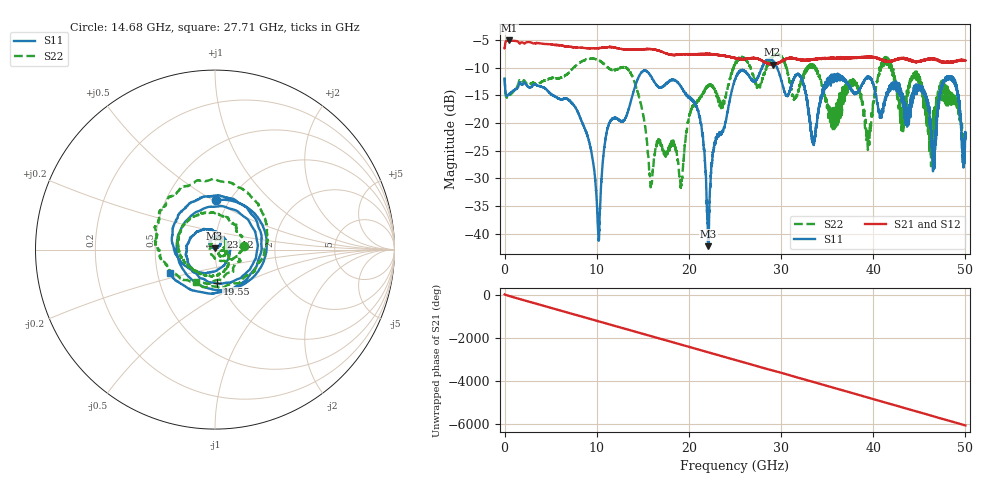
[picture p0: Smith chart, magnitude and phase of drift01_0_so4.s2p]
!Created with skrf (http://scikit-rf.org).
# Hz S RI R 50.0
!freq ReS11 ImS11 ReS21 ImS21 ReS12 ImS12 ReS22 ImS22
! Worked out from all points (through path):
!   10001 points, 300 kHz to 50 GHz, reference 50 ohm
!   highest |S21| = -5.05 dB at 520.3 MHz (marker M1); lowest = -9.4 dB at 29.08 GHz (marker M2)
!   group delay of S21, straight-line fit = 336 ps
!   lowest |S11| = -42.3 dB at 22.09 GHz (marker M3), VSWR 1.02, Z = 49.8 + j0.735 ohm
!   |S11| at or under -10 dB: start of sweep to 27.92 GHz; 27.92221 GHz to 27.9289 GHz (6.694 MHz wide, 0.024 % of centre); 29.58 GHz to end of sweep
!   |S22| runs from -31.8 to -7.4 dB; largest |S21 - S12| = 0.01
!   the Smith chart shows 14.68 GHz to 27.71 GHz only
!   S11 on the Smith chart (normalised r, x): 14.68 GHz: 0.87, +0.51; 19.55 GHz: 0.95, -0.37; 23.12 GHz: 1.05, +0.15; 27.71 GHz: 0.58, -0.16
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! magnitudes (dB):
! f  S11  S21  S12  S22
! 300 kHz  -12.0  -6.5  -6.5  -11.8
! 520.3 MHz  -14.7  -5.1  -5.1  -15.0
! 8.335 GHz  -19.6  -6.4  -6.4  -8.9
! 10.19 GHz  -40.7  -6.4  -6.4  -8.6
! 11.23 GHz  -20.7  -6.3  -6.3  -10.0
! 14.68 GHz  -11.3  -6.7  -6.7  -15.8
! 15.86 GHz  -11.5  -6.6  -6.6  -31.5
! 16.67 GHz  -13.4  -6.9  -6.9  -23.2
! 19.55 GHz  -14.5  -7.5  -7.5  -24.0
! 21.2 GHz  -19.0  -7.5  -7.5  -15.6
! 22.09 GHz  -42.3  -7.5  -7.5  -13.3
! 23.12 GHz  -22.1  -7.7  -7.7  -15.2
! 25 GHz  -12.1  -8.2  -8.3  -9.5
! 27.71 GHz  -10.9  -8.5  -8.5  -13.5
! 29.08 GHz  -8.7  -9.4  -9.4  -7.9
! 33.34 GHz  -22.3  -8.5  -8.5  -9.6
! 39.47 GHz  -11.6  -8.1  -8.1  -22.6
! 41.67 GHz  -13.9  -8.8  -8.8  -8.7
! 45.35 GHz  -13.8  -8.7  -8.7  -14.3
! 46.56 GHz  -26.2  -8.4  -8.4  -20.5
! 48.52 GHz  -11.5  -9.0  -9.0  -15.0
! 50 GHz  -22.7  -8.7  -8.7  -22.4
